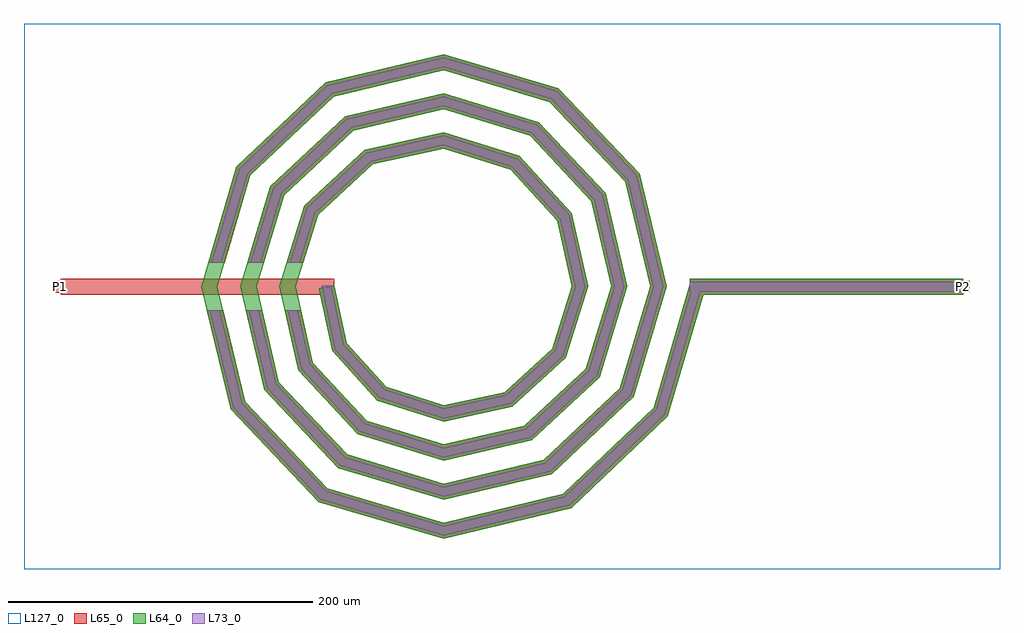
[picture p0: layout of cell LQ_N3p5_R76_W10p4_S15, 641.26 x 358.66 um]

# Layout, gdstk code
import gdstk
lib = gdstk.Library(unit=1e-6, precision=1e-09)
def R(c, l, rs):  # rectangles x0, y0, x1, y1
    for r in rs: c.add(gdstk.rectangle(r[:2], r[2:], *l))
def P(c, l, *ps):  # polygons
    for p in ps: c.add(gdstk.Polygon(p, *l))
L64_0 = (64, 0)
L65_0 = (65, 0)
L73_0 = (73, 0)
L127_0 = (127, 0)

lq_n3p5_r76_w10p4_s15 = lib.new_cell('LQ_N3p5_R76_W10p4_S15')
R(lq_n3p5_r76_w10p4_s15, L64_0, [(161.593,-5.2,341.593,5.2)])
P(lq_n3p5_r76_w10p4_s15, L64_0, [(-63.634,-37.053),(-37.659,-65.757),(0.258,-77.917),(40.247,-69.206),(71.309,-40.887),(84.339,0.24),(74.777,43.443),(44.112,76.862),(0.224,90.761),(-46.64,80.346),(-82.417,47.336),(-97.184,0.21),(-85.915,-49.84),(-50.558,-87.972),(0.197,-103.606),(53.041,-91.483),(93.529,-53.78),(110.029,0.186),(97.05,56.243),(57,99.086),(0.176,116.451),(-59.446,102.617),(-104.643,60.219),(-122.874,0.168),(-108.184,-62.65),(-63.437,-110.201),(0.16,-129.297),(65.855,-113.75),(115.76,-66.655),(135.719,0.152),(119.316,69.06),(69.873,121.319),(0.146,142.142),(-72.266,124.881),(-126.878,73.089),(-148.565,0.14),(-130.446,-75.472),(-76.306,-132.437),(0.134,-154.988),(78.679,-136.011),(137.997,-79.522),(161.804,1.467),(171.781,-1.467),(147.188,-85.13),(83.832,-145.465),(0.134,-165.752),(-81.923,-141.623),(-139.906,-80.616),(-159.329,0.14),(-136.058,78.716),(-77.399,134.346),(0.146,152.906),(75.51,130.492),(128.787,74.182),(146.483,0.152),(124.926,-72.305),(70.964,-123.228),(0.16,-140.06),(-69.1,-119.36),(-117.669,-67.746),(-133.637,0.168),(-113.793,65.895),(-64.527,112.111),(0.176,127.213),(62.692,108.226),(106.553,61.307),(120.79,0.186),(102.658,-59.489),(58.086,-100.996),(0.197,-114.367),(-56.287,-97.09),(-95.439,-54.865),(-107.944,0.21),(-91.521,53.087),(-51.641,89.883),(0.224,101.52),(49.888,85.951),(84.328,48.416),(95.097,0.24),(80.379,-46.69),(45.189,-78.773),(0.258,-88.673),(-43.495,-74.807),(-73.22,-41.96),(-81.957,-1.087),(-71.787,1.087)])
R(lq_n3p5_r76_w10p4_s15, L65_0, [(-251.672,-5.2,-71.672,5.2), (161.593,-5.2,341.593,5.2), (-255.672,-4,-247.672,4), (337.593,-4,345.593,4)])
P(lq_n3p5_r76_w10p4_s15, L65_0, [(-130.446,-75.472),(-76.306,-132.437),(0.134,-154.988),(78.679,-136.011),(137.997,-79.522),(161.804,1.467),(171.782,-1.467),(147.188,-85.13),(83.832,-145.466),(0.134,-165.752),(-81.923,-141.623),(-139.906,-80.616),(-155.543,-15.6),(-144.846,-15.6)],
  [(-108.184,-62.65),(-63.437,-110.201),(0.16,-129.297),(65.855,-113.75),(115.76,-66.655),(135.719,0.152),(119.316,69.06),(69.873,121.319),(0.146,142.142),(-72.266,124.881),(-126.878,73.089),(-143.904,15.6),(-154.75,15.6),(-136.058,78.717),(-77.399,134.346),(0.146,152.906),(75.51,130.492),(128.787,74.182),(146.483,0.152),(124.926,-72.305),(70.964,-123.228),(0.16,-140.06),(-69.1,-119.36),(-117.669,-67.746),(-129.929,-15.6),(-119.246,-15.6)],
  [(-85.915,-49.84),(-50.559,-87.972),(0.197,-103.606),(53.041,-91.483),(93.529,-53.78),(110.029,0.186),(97.05,56.243),(57,99.086),(0.177,116.451),(-59.446,102.617),(-104.643,60.219),(-118.114,15.6),(-128.977,15.6),(-113.793,65.895),(-64.527,112.111),(0.177,127.213),(62.692,108.226),(106.553,61.307),(120.79,0.186),(102.658,-59.489),(58.087,-100.996),(0.197,-114.367),(-56.287,-97.09),(-95.439,-54.865),(-104.354,-15.6),(-93.689,-15.6)],
  [(-37.659,-65.757),(0.258,-77.917),(40.247,-69.206),(71.309,-40.887),(84.339,0.24),(74.777,43.443),(44.112,76.862),(0.224,90.761),(-46.641,80.346),(-82.417,47.336),(-92.274,15.6),(-103.164,15.6),(-91.521,53.087),(-51.641,89.883),(0.224,101.52),(49.888,85.951),(84.328,48.416),(95.097,0.24),(80.379,-46.69),(45.189,-78.773),(0.258,-88.673),(-43.495,-74.807),(-73.221,-41.96),(-81.957,-1.087),(-71.787,1.087),(-63.634,-37.053)])
R(lq_n3p5_r76_w10p4_s15, L73_0, [(161.593,-3.2,341.593,3.2)])
P(lq_n3p5_r76_w10p4_s15, L73_0, [(-132.265,-76.461),(-77.386,-134.204),(0.083,-157.058),(79.67,-137.829),(139.764,-80.6),(163.722,0.903),(169.863,0.903),(145.421,-84.051),(82.841,-143.647),(0.083,-163.682),(-80.843,-139.857),(-138.087,-79.626),(-153.486,-15.6),(-146.904,-15.6)],
  [(-110.008,-63.63),(-64.526,-111.963),(0.098,-131.367),(66.838,-115.573),(117.523,-67.742),(137.789,0.094),(121.137,70.045),(70.957,123.083),(0.09,144.212),(-73.253,126.701),(-128.643,74.172),(-145.989,15.6),(-152.664,15.6),(-134.292,77.634),(-76.412,132.526),(0.09,150.836),(74.426,128.728),(126.966,73.197),(144.413,0.094),(123.163,-71.218),(69.982,-121.405),(0.098,-137.99),(-68.011,-117.599),(-115.845,-66.766),(-127.875,-15.6),(-121.3,-15.6)],
  [(-87.747,-50.806),(-51.66,-89.726),(0.121,-105.676),(54.011,-93.312),(95.284,-54.878),(112.098,0.115),(98.878,57.217),(58.094,100.843),(0.109,118.521),(-60.423,104.443),(-106.403,61.311),(-120.203,15.6),(-126.888,15.6),(-112.034,64.804),(-63.55,110.285),(0.109,125.144),(61.597,106.468),(104.726,60.333),(118.721,0.115),(100.903,-58.391),(57.116,-99.166),(0.121,-112.298),(-55.186,-95.337),(-93.607,-53.898),(-102.303,-15.6),(-95.74,-15.6)],
  [(-38.781,-67.497),(0.159,-79.986),(41.197,-71.046),(73.053,-42.003),(86.408,0.147),(76.614,44.399),(45.223,78.61),(0.138,92.83),(-47.602,82.18),(-84.168,48.442),(-94.368,15.6),(-101.069,15.6),(-89.77,51.981),(-50.68,88.049),(0.138,99.451),(48.777,84.203),(82.491,47.46),(93.028,0.147),(78.635,-45.574),(44.239,-76.934),(0.159,-86.605),(-42.373,-73.066),(-71.377,-41.016),(-80.002,0.669),(-73.743,0.669),(-65.478,-37.997)])
R(lq_n3p5_r76_w10p4_s15, L127_0, [(-275.672,-185.752,365.593,172.906)])
lq_n3p5_r76_w10p4_s15.add(gdstk.Label('P2', (341.593,0), layer=65, texttype=0))
lq_n3p5_r76_w10p4_s15.add(gdstk.Label('P1', (-251.672,0), layer=65, texttype=0))
lq_n3p5_r76_w10p4_s15.add(gdstk.Label('P2', (345.593,0), layer=145, texttype=0))
lq_n3p5_r76_w10p4_s15.add(gdstk.Label('P1', (-255.672,0), layer=145, texttype=0))

lib.write_gds('LQ_N3p5_R76_W10p4_S15.gds')
